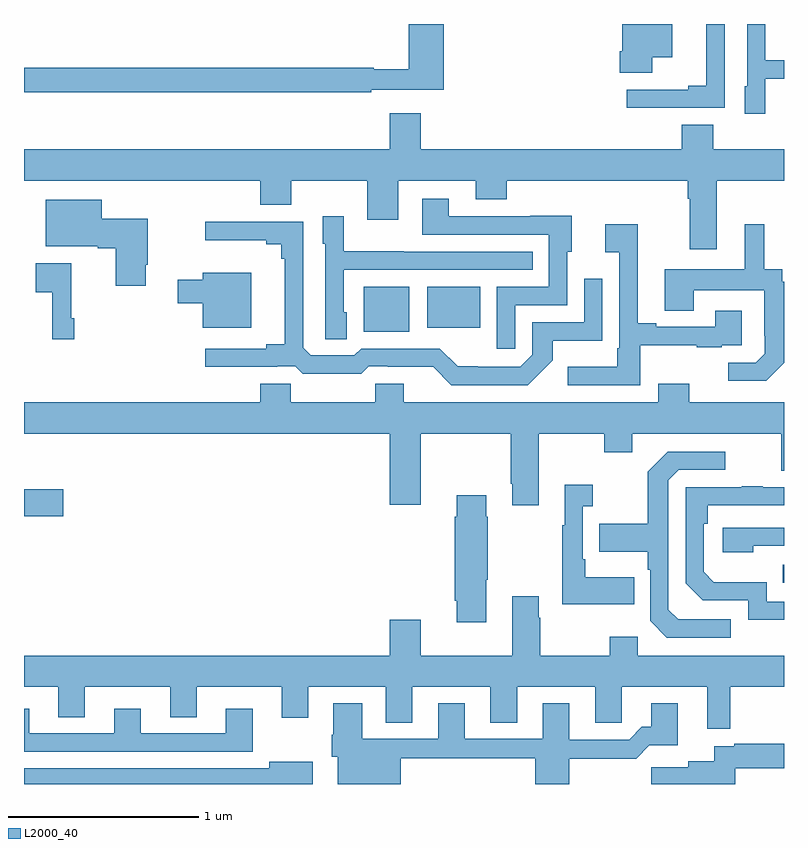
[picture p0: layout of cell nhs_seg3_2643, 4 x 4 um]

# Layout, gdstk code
import gdstk
lib = gdstk.Library(unit=1e-6, precision=1e-09)
def R(c, l, rs):  # rectangles x0, y0, x1, y1
    for r in rs: c.add(gdstk.rectangle(r[:2], r[2:], *l))
def P(c, l, *ps):  # polygons
    for p in ps: c.add(gdstk.Polygon(p, *l))
L2000_40 = (2000, 40)

nhs_seg3_2643 = lib.new_cell('nhs_seg3_2643')
R(nhs_seg3_2643, L2000_40, [(250.993,705.459,251,705.555), (247,705.809,247.207,705.951), (248.789,706.781,249.028,707.017), (249.122,706.802,249.4,707.017)])
P(nhs_seg3_2643, L2000_40, [(248.828,708.054),(249.209,708.054),(249.209,708.4),(249.026,708.4),(249.026,708.163),(248.842,708.163),(248.842,708.17),(247,708.17),(247,708.042),(248.828,708.042)],
  [(250.689,708.4),(250.592,708.4),(250.592,708.074),(250.496,708.074),(250.496,708.054),(250.173,708.054),(250.173,707.958),(250.689,707.958)],
  [(250.306,708.224),(250.411,708.224),(250.411,708.4),(250.148,708.4),(250.148,708.256),(250.136,708.256),(250.136,708.144),(250.306,708.144)],
  [(250.902,708.113),(251,708.113),(251,708.21),(250.902,708.21),(250.902,708.4),(250.806,708.4),(250.806,708.072),(250.793,708.072),(250.793,707.928),(250.902,707.928)],
  [(250.645,707.576),(251,707.576),(251,707.74),(250.627,707.74),(250.627,707.869),(250.463,707.869),(250.463,707.74),(249.088,707.74),(249.088,707.929),(248.924,707.929),(248.924,707.74),(247,707.74),(247,707.576),(248.243,707.576),(248.243,707.448),(248.407,707.448),(248.407,707.576),(248.807,707.576),(248.807,707.37),(248.971,707.37),(248.971,707.576),(249.377,707.576),(249.377,707.477),(249.541,707.477),(249.541,707.576),(250.493,707.576),(250.493,707.48),(250.505,707.48),(250.505,707.214),(250.645,707.214)],
  [(249.585,706.92),(249.858,706.92),(249.858,707.202),(249.883,707.202),(249.883,707.39),(249.665,707.39),(249.665,707.388),(249.235,707.388),(249.235,707.479),(249.095,707.479),(249.095,707.292),(249.762,707.292),(249.762,707.016),(249.489,707.016),(249.489,706.692),(249.585,706.692)],
  [(247.642,707.134),(247.65,707.134),(247.65,707.374),(247.408,707.374),(247.408,707.476),(247.115,707.476),(247.115,707.231),(247.388,707.231),(247.388,707.219),(247.484,707.219),(247.484,707.022),(247.642,707.022)],
  [(248.698,706.884),(248.682,706.884),(248.682,707.106),(249.677,707.106),(249.677,707.202),(248.999,707.202),(248.999,707.203),(248.682,707.203),(248.682,707.389),(248.573,707.389),(248.573,707.244),(248.586,707.244),(248.586,706.741),(248.698,706.741)],
  [(249.783,706.631),(249.783,706.733),(250.044,706.733),(250.044,707.059),(249.948,707.059),(249.948,706.83),(249.675,706.83),(249.675,706.659),(249.612,706.596),(249.388,706.596),(249.388,706.598),(249.284,706.598),(249.189,706.692),(248.775,706.692),(248.739,706.656),(248.508,706.656),(248.469,706.695),(248.469,707.358),(247.953,707.358),(247.953,707.261),(248.276,707.261),(248.276,707.242),(248.353,707.242),(248.353,707.165),(248.372,707.165),(248.372,706.715),(248.276,706.715),(248.276,706.692),(247.953,706.692),(247.953,706.595),(248.333,706.595),(248.333,706.599),(248.427,706.599),(248.467,706.56),(248.775,706.56),(248.814,706.599),(248.914,706.599),(248.914,706.595),(249.155,706.595),(249.249,706.5),(249.652,706.5)],
  [(251,706.616),(251,707.044),(250.992,707.044),(250.992,707.108),(250.897,707.108),(250.897,707.347),(250.793,707.347),(250.793,707.11),(250.373,707.11),(250.373,706.891),(250.525,706.891),(250.525,707),(250.896,707),(250.896,706.759),(250.898,706.759),(250.898,706.664),(250.851,706.617),(250.707,706.617),(250.707,706.523),(250.907,706.523)],
  [(250.243,706.709),(250.541,706.709),(250.541,706.698),(250.673,706.698),(250.673,706.71),(250.777,706.71),(250.777,706.891),(250.637,706.891),(250.637,706.806),(250.327,706.806),(250.327,706.825),(250.231,706.825),(250.231,707.347),(250.059,707.347),(250.059,707.198),(250.134,707.198),(250.134,706.693),(250.122,706.693),(250.122,706.597),(249.861,706.597),(249.861,706.5),(250.243,706.5)],
  [(247.265,706.852),(247.248,706.852),(247.248,707.14),(247.062,707.14),(247.062,706.988),(247.148,706.988),(247.148,706.74),(247.265,706.74)],
  [(248.197,707.092),(247.94,707.092),(247.94,707.053),(247.809,707.053),(247.809,706.931),(247.94,706.931),(247.94,706.802),(248.197,706.802)],
  [(249.709,706.244),(250.054,706.244),(250.054,706.145),(250.201,706.145),(250.201,706.244),(250.985,706.244),(250.985,706.05),(251,706.05),(251,706.408),(250.501,706.408),(250.501,706.507),(250.337,706.507),(250.337,706.408),(248.998,706.408),(248.998,706.506),(248.848,706.506),(248.848,706.408),(248.403,706.408),(248.403,706.506),(248.243,706.506),(248.243,706.408),(247,706.408),(247,706.244),(248.924,706.244),(248.924,705.87),(249.088,705.87),(249.088,706.244),(249.562,706.244),(249.562,705.979),(249.569,705.979),(249.569,705.867),(249.709,705.867)],
  [(250.72,705.267),(250.443,705.267),(250.392,705.318),(250.392,705.999),(250.446,706.053),(250.69,706.053),(250.69,706.149),(250.389,706.149),(250.284,706.043),(250.284,705.771),(250.027,705.771),(250.027,705.623),(250.284,705.623),(250.284,705.527),(250.296,705.527),(250.296,705.258),(250.383,705.171),(250.72,705.171)],
  [(250.211,705.487),(249.955,705.487),(249.955,705.583),(249.942,705.583),(249.942,705.863),(249.994,705.863),(249.994,705.976),(249.845,705.976),(249.845,705.763),(249.834,705.763),(249.834,705.347),(250.211,705.347)],
  [(251,705.36),(250.908,705.36),(250.908,705.463),(250.631,705.463),(250.578,705.516),(250.578,705.77),(250.598,705.77),(250.598,705.867),(251,705.867),(251,705.963),(250.889,705.963),(250.889,705.968),(250.777,705.968),(250.777,705.963),(250.482,705.963),(250.482,705.456),(250.572,705.366),(250.812,705.366),(250.812,705.264),(251,705.264)],
  [(249.433,705.475),(249.441,705.475),(249.441,705.806),(249.433,705.806),(249.433,705.919),(249.278,705.919),(249.278,705.806),(249.266,705.806),(249.266,705.364),(249.278,705.364),(249.278,705.252),(249.433,705.252)],
  [(250.838,705.654),(251,705.654),(251,705.75),(250.677,705.75),(250.677,705.62),(250.838,705.62)],
  [(250.717,704.912),(251,704.912),(251,705.076),(250.23,705.076),(250.23,705.175),(250.084,705.175),(250.084,705.076),(249.717,705.076),(249.717,705.275),(249.709,705.275),(249.709,705.388),(249.569,705.388),(249.569,705.076),(249.088,705.076),(249.088,705.265),(248.924,705.265),(248.924,705.076),(247,705.076),(247,704.912),(247.181,704.912),(247.181,704.752),(247.321,704.752),(247.321,704.912),(247.769,704.912),(247.769,704.752),(247.909,704.752),(247.909,704.912),(248.357,704.912),(248.357,704.748),(248.497,704.748),(248.497,704.912),(248.903,704.912),(248.903,704.722),(249.043,704.722),(249.043,704.912),(249.455,704.912),(249.455,704.722),(249.595,704.722),(249.595,704.912),(250.007,704.912),(250.007,704.722),(250.146,704.722),(250.146,704.912),(250.595,704.912),(250.595,704.691),(250.717,704.691)],
  [(248.983,704.536),(249.692,704.536),(249.692,704.4),(249.87,704.4),(249.87,704.534),(250.223,704.534),(250.292,704.603),(250.441,704.603),(250.441,704.824),(250.301,704.824),(250.301,704.701),(250.252,704.701),(250.185,704.634),(249.871,704.634),(249.871,704.824),(249.731,704.824),(249.731,704.637),(249.319,704.637),(249.319,704.824),(249.179,704.824),(249.179,704.637),(248.779,704.637),(248.779,704.824),(248.627,704.824),(248.627,704.66),(248.62,704.66),(248.62,704.544),(248.651,704.544),(248.651,704.4),(248.983,704.4)],
  [(248.203,704.797),(248.063,704.797),(248.063,704.667),(247.615,704.667),(247.615,704.797),(247.475,704.797),(247.475,704.667),(247.027,704.667),(247.027,704.797),(247,704.797),(247,704.571),(248.203,704.571)],
  [(250.744,704.482),(251,704.482),(251,704.611),(250.738,704.611),(250.738,704.598),(250.634,704.598),(250.634,704.521),(250.496,704.521),(250.496,704.489),(250.302,704.489),(250.302,704.4),(250.744,704.4)],
  [(248.521,704.518),(248.291,704.518),(248.291,704.482),(247,704.482),(247,704.4),(248.521,704.4)])

lib.write_gds('nhs_seg3_2643.gds')
